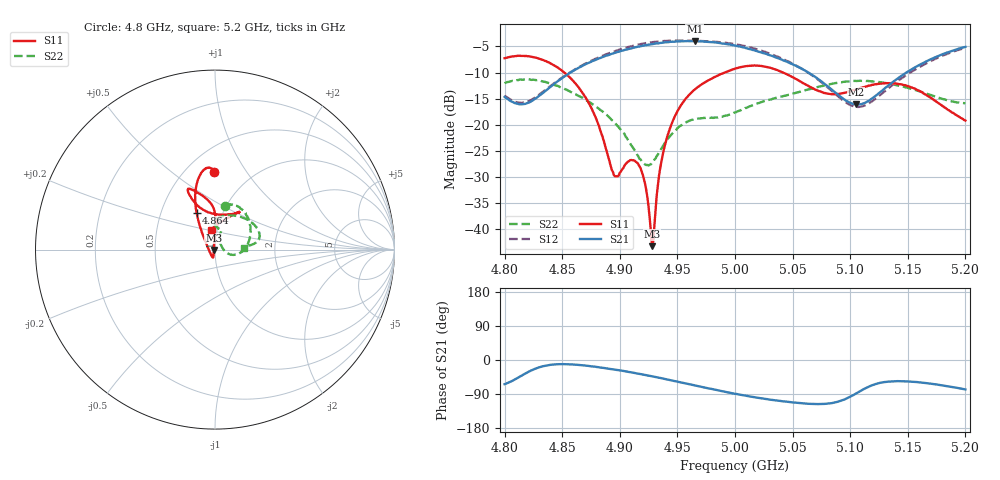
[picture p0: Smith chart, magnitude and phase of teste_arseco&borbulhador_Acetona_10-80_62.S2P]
! Network Analyzer HP8722D
! Hewlett-Packard
! Data name: Linha & Wilkinson
! Saver's name: Rodrigo Anjos
! Comments: Teste da utilização de aquisição
! continua pelo VNA HP8722D
! Time and date: 25/4/2025 15:47
!  Frequency  S11  S21  S12  S22
# HZ  S  MA R 50
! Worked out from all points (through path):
!   401 points, 4.8 GHz to 5.2 GHz, reference 50 ohm
!   highest |S21| = -3.96 dB at 4.965 GHz (marker M1); lowest = -16.1 dB at 5.105 GHz (marker M2)
!   lowest |S11| = -43.2 dB at 4.928 GHz (marker M3), VSWR 1.01, Z = 49.3 - j0.169 ohm
!   |S11| at or under -10 dB: 4.852 GHz to 4.991 GHz (138.8 MHz wide, 2.82 % of centre); 5.042 GHz to end of sweep
!   |S22| runs from -27.8 to -11.3 dB; largest |S21 - S12| = 1.2
!   S11 on the Smith chart (normalised r, x): 4.8 GHz: 0.68, +0.73; 4.864 GHz: 0.75, +0.33; 5.2 GHz: 0.94, +0.21
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4.8e9  0.4345 90.6  0.1853 -63.7  0.1907 69.9  0.2494 77.1
4.82e9  0.4525 96.8  0.1619 -32.2  0.1674 98.6  0.2727 61.7
4.864e9  0.2307 116.5  0.3507 -12.9  0.3534 120.9  0.1897 11.9
4.867e9  0.2078 118.1  0.364 -14.0  0.369 120.7  0.1832 8.4
4.88e9  0.1102 128.6  0.4239 -18.5  0.434 118.1  0.148 -5.4
4.895e9  0.03286 -172.7  0.4865 -24.9  0.5028 113.7  0.1067 -16.2
4.909e9  0.04607 -106.9  0.5352 -32.2  0.5607 107.6  0.06652 -14.7
4.917e9  0.04018 -103.0  0.5614 -36.6  0.5895 103.4  0.04746 -2.1
4.922e9  0.02723 -106.9  0.5777 -39.5  0.6047 100.7  0.04175 16.3
4.928e9  0.006916 -165.6  0.5926 -43.0  0.6182 96.9  0.04338 41.2
4.93e9  0.01075 124.7  0.5966 -44.2  0.621 95.7  0.04637 48.9
4.934e9  0.03238 99.3  0.6051 -46.9  0.6297 93.1  0.05441 59.0
4.939e9  0.0629 92.8  0.6158 -50.0  0.6354 90.0  0.06714 66.1
4.946e9  0.1089 89.8  0.6255 -54.6  0.6391 85.5  0.08401 70.4
4.965e9  0.2177 90.9  0.634 -67.2  0.6383 73.3  0.114 71.7
5e9  0.3449 109.0  0.5732 -89.3  0.5918 50.7  0.1315 88.5
5.03e9  0.3536 115.0  0.4646 -104.3  0.4816 33.7  0.174 85.4
5.067e9  0.2257 105.0  0.3008 -115.9  0.2976 23.6  0.2224 57.2
5.105e9  0.218 65.0  0.1568 -88.7  0.1489 54.5  0.2632 25.5
5.134e9  0.2504 56.9  0.2425 -56.7  0.2277 88.7  0.2476 12.4
5.168e9  0.1873 68.9  0.4148 -61.9  0.3983 85.1  0.1957 6.8
5.2e9  0.1099 100.3  0.5569 -77.7  0.5458 70.1  0.1609 3.8
